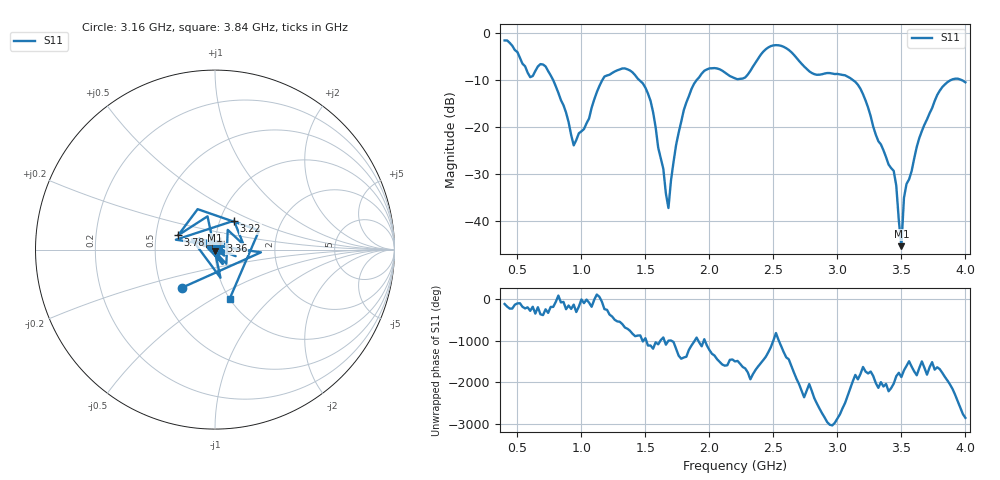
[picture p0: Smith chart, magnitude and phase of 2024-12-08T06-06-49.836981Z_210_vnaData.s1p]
!Created with skrf (http://scikit-rf.org).
# Hz S RI R 50.0
!freq ReS11 ImS11
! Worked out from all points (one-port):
!   181 points, 400 MHz to 4 GHz, reference 50 ohm
!   lowest |S11| = -45.4 dB at 3.5 GHz (marker M1), VSWR 1.01, Z = 50.1 - j0.523 ohm
!   |S11| at or under -10 dB: 780.2 MHz to 1.163 GHz (382.8 MHz wide, 39.4 % of centre); 1.454 GHz to 1.899 GHz (445 MHz wide, 26.5 % of centre); 3.123 GHz to 3.884 GHz (760.4 MHz wide, 21.7 % of centre) (the widest 3 of 4)
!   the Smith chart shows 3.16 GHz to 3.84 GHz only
!   S11 on the Smith chart (normalised r, x): 3.16 GHz: 0.63, -0.29; 3.22 GHz: 1.17, +0.39; 3.36 GHz: 1.06, +0.10; 3.78 GHz: 0.65, +0.11; 3.84 GHz: 1.00, -0.60
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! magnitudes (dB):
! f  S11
! 400 MHz  -1.5
! 600 MHz  -9.3
! 720 MHz  -7.0
! 860 MHz  -15.3
! 940 MHz  -23.9
! 1.18 GHz  -9.2
! 1.3 GHz  -7.7
! 1.54 GHz  -14.4
! 1.68 GHz  -37.3
! 1.76 GHz  -21.1
! 1.86 GHz  -11.9
! 1.96 GHz  -8.0
! 2.2 GHz  -9.6
! 2.48 GHz  -2.7
! 2.66 GHz  -4.6
! 2.82 GHz  -8.7
! 3.1 GHz  -9.5
! 3.16 GHz  -11.0
! 3.22 GHz  -14.3
! 3.36 GHz  -25.0
! 3.44 GHz  -29.3
! 3.5 GHz  -45.4
! 3.52 GHz  -35.1
! 3.56 GHz  -31.1
! 3.64 GHz  -22.3
! 3.78 GHz  -13.1
! 3.84 GHz  -10.9
! 4 GHz  -10.4
